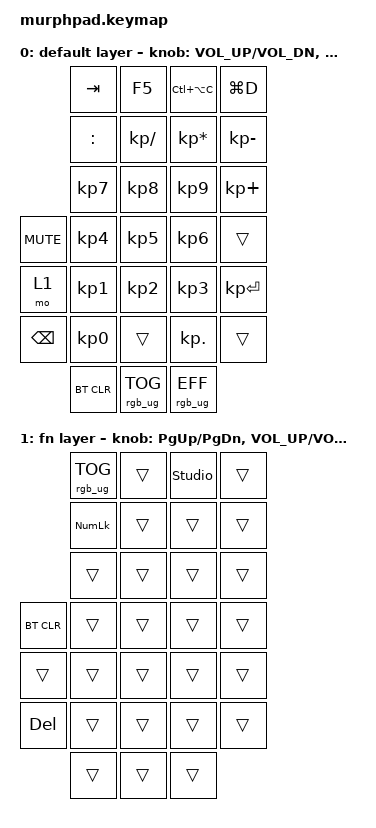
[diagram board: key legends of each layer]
/*
 * Copyright (c) 2021 Kyle McCreery
 *
 * SPDX-License-Identifier: MIT
 */

#include <behaviors.dtsi>
#include <dt-bindings/zmk/keys.h>
#include <dt-bindings/zmk/bt.h>
#include <dt-bindings/zmk/rgb.h>

#define TIMEOUT 50

/* Layer Names*/
#define DEFAULT 0
#define FN      1


&encoder_1 {
	status = "okay";
};

&encoder_2 {
	status = "okay";
};

/*
 * Key positions follow the order of all_1u_transform in murphpad.overlay:
 *   0-3   top row of four keys (A B C D)
 *   4-7   NUM row
 *   8-11  7 8 9 +
 *   12-16 encoder click, 4 5 6, empty slot under +
 *   17-21 CTRL, 1 2 3, Enter
 *   22-26 ALT, 0, empty, ., empty
 *   27-29 the three underside buttons
 */

/* Combo Definitions*/
/ {
    combos {
        compatible = "zmk,combos";
        combo_btclr {
            timeout-ms = <TIMEOUT>;
            key-positions = <0 4>;
            bindings = <&bt BT_CLR>;
        };
        combo_reset {
            timeout-ms = <TIMEOUT>;
            key-positions = <0 2>;
            bindings = <&sys_reset>;
        };
        combo_bootloader {
            timeout-ms = <TIMEOUT>;
            key-positions = <0 1>;
            bindings = <&bootloader>;
        };
        combo_bt_nxt {
            timeout-ms = <TIMEOUT>;
            key-positions = <0 3>;
            bindings = <&bt BT_NXT>;
        };
    };

	sensors {
		compatible = "zmk,keymap-sensors";
		sensors = <&encoder_1 &encoder_2>;
	};


	keymap0: keymap {
		compatible = "zmk,keymap";

		default_layer {
		label = "default layer";
            bindings = <
                        &kp TAB          &kp F5          &kp LC(LA(C))     &kp LG(D)
                        &kp COLON        &kp KP_DIVIDE   &kp KP_MULTIPLY   &kp KP_MINUS
                        &kp KP_N7        &kp KP_N8       &kp KP_N9         &kp KP_PLUS
                &kp C_MUTE  &kp KP_N4    &kp KP_N5       &kp KP_N6         &trans
                &mo 1       &kp KP_N1    &kp KP_N2       &kp KP_N3         &kp KP_ENTER
                &kp BSPC    &kp KP_N0    &trans          &kp KP_DOT        &trans

                        &bt BT_CLR  &rgb_ug RGB_TOG  &rgb_ug RGB_EFF
            >;
			sensor-bindings = <&inc_dec_kp C_VOL_UP C_VOL_DN &inc_dec_kp PG_UP PG_DN>;

        };

        fn_layer {
		label = "fn layer";
            bindings = <
                        &rgb_ug RGB_TOG  &trans          &studio_unlock    &trans
                        &kp KP_NUM       &trans          &trans            &trans
                        &trans           &trans          &trans            &trans
                &bt BT_CLR  &trans       &trans          &trans            &trans
                &trans      &trans       &trans          &trans            &trans
                &kp DEL     &trans       &trans          &trans            &trans

                        &trans      &trans      &trans
            >;
			sensor-bindings = <&inc_dec_kp PG_UP PG_DN &inc_dec_kp C_VOL_UP C_VOL_DN>;

        };
    };
};
